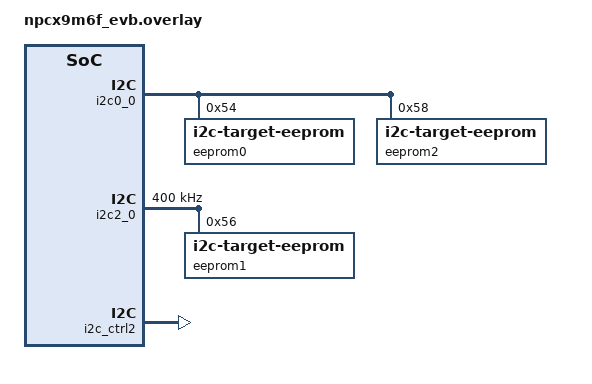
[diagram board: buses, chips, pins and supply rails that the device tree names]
/* SPDX-License-Identifier: Apache-2.0 */

/ {
	chosen {
		zephyr,shell-uart = &uart1;
	};
};

&i2c0_0 {
	eeprom0: eeprom@54 {
		compatible = "zephyr,i2c-target-eeprom";
		reg = <0x54>;
		address-width = <16>;
		size = <1024>;
	};
	eeprom2: eeprom@58 {
		compatible = "zephyr,i2c-target-eeprom";
		reg = <0x58>;
		size = <4096>;
		address-width = <16>;
		read-only;
	};
};

&i2c2_0 {
	status = "okay";
	pinctrl-0 = <&i2c2_0_sda_scl_gp91_92>;
	pinctrl-names = "default";
	clock-frequency = <I2C_BITRATE_FAST>;

	eeprom1: eeprom@56 {
		compatible = "zephyr,i2c-target-eeprom";
		reg = <0x56>;
		address-width = <16>;
		size = <1024>;
	};
};

&i2c_ctrl2 {
	status = "okay";
};
